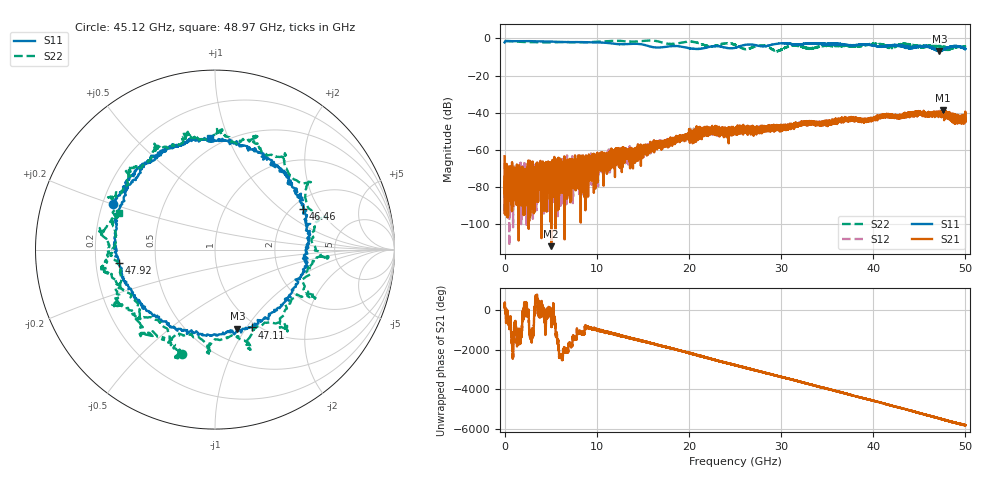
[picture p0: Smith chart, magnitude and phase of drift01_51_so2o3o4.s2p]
!Created with skrf (http://scikit-rf.org).
# Hz S RI R 50.0
!freq ReS11 ImS11 ReS21 ImS21 ReS12 ImS12 ReS22 ImS22
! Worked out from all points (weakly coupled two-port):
!   10001 points, 300 kHz to 50 GHz, reference 50 ohm
!   highest |S21| = -38.74 dB at 47.54 GHz (marker M1); lowest = -111.9 dB at 5.06 GHz (marker M2)
!   lowest |S11| = -6.8 dB at 47.18 GHz (marker M3), VSWR 2.69, Z = 41.2 - j45.9 ohm
!   |S11| at or under -10 dB: nowhere
!   |S22| runs from -6.9 to -1.1 dB; largest |S21 - S12| = 0.0049
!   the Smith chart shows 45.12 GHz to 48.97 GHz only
!   S11 on the Smith chart (normalised r, x): 45.12 GHz: 0.24, +0.20; 46.46 GHz: 2.28, +1.47; 47.11 GHz: 0.94, -1.06; 47.92 GHz: 0.30, -0.06; 48.97 GHz: 0.43, +0.86
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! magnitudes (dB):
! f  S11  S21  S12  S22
! 300 kHz  -2.1  -63.5  -66.8  -1.3
! 255.3 MHz  -1.4  -79.0  -78.8  -1.4
! 5.06 GHz  -1.7  -111.9  -76.1  -2.1
! 8.335 GHz  -2.0  -73.1  -67.9  -2.1
! 16.67 GHz  -4.9  -55.3  -56.4  -1.6
! 21.65 GHz  -5.2  -50.0  -51.7  -3.5
! 25 GHz  -5.0  -49.0  -49.9  -3.4
! 26.16 GHz  -3.4  -50.0  -48.0  -5.7
! 28.13 GHz  -4.3  -49.1  -48.3  -3.9
! 29.51 GHz  -2.8  -47.7  -48.8  -6.7
! 31.26 GHz  -3.1  -46.4  -47.8  -4.0
! 33.34 GHz  -2.6  -45.0  -45.3  -5.6
! 40.14 GHz  -3.8  -43.5  -42.9  -2.8
! 41.67 GHz  -3.9  -41.1  -41.8  -4.6
! 45.12 GHz  -4.1  -41.2  -39.8  -4.3
! 46.46 GHz  -5.3  -40.5  -41.0  -3.6
! 47.11 GHz  -6.4  -40.4  -40.0  -3.8
! 47.18 GHz  -6.8  -40.9  -40.5  -4.4
! 47.54 GHz  -6.2  -38.7  -39.4  -5.5
! 47.92 GHz  -5.3  -39.8  -40.6  -5.0
! 48.97 GHz  -4.1  -42.4  -41.8  -4.9
! 50 GHz  -5.6  -43.1  -44.6  -4.2
